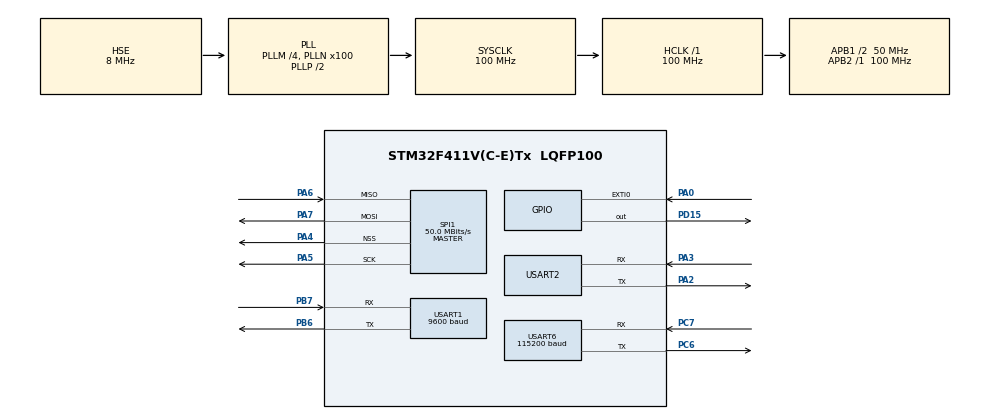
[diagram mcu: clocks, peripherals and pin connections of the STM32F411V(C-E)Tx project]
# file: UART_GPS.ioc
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Mcu.Family=STM32F4
Mcu.Name=STM32F411V(C-E)Tx
Mcu.Package=LQFP100
NVIC.EXTI0_IRQn=true\:0\:0\:false\:false\:true\:true
NVIC.PriorityGroup=NVIC_PRIORITYGROUP_4
NVIC.SPI1_IRQn=true\:0\:0\:false\:false\:true\:true
NVIC.TIM1_UP_TIM10_IRQn=true\:0\:0\:false\:false\:true\:true
NVIC.USART1_IRQn=true\:0\:0\:true\:false\:true\:true
NVIC.USART2_IRQn=true\:0\:0\:false\:false\:true\:true
NVIC.USART6_IRQn=true\:0\:0\:true\:false\:true\:true
PA0-WKUP.Signal=GPXTI0
PA2.Mode=Asynchronous
PA2.Signal=USART2_TX
PA3.Mode=Asynchronous
PA3.Signal=USART2_RX
PA4.Mode=NSS_Signal_Hard_Output
PA4.Signal=SPI1_NSS
PA5.Mode=Full_Duplex_Master
PA5.Signal=SPI1_SCK
PA6.Mode=Full_Duplex_Master
PA6.Signal=SPI1_MISO
PA7.Mode=Full_Duplex_Master
PA7.Signal=SPI1_MOSI
PB6.Mode=Asynchronous
PB6.Signal=USART1_TX
PB7.Mode=Asynchronous
PB7.Signal=USART1_RX
PC6.Mode=Asynchronous
PC6.Signal=USART6_TX
PC7.Mode=Asynchronous
PC7.Signal=USART6_RX
PD15.Signal=GPIO_Output
PH0\ -\ OSC_IN.Mode=HSE-External-Oscillator
PH0\ -\ OSC_IN.Signal=RCC_OSC_IN
PH1\ -\ OSC_OUT.Mode=HSE-External-Oscillator
PH1\ -\ OSC_OUT.Signal=RCC_OSC_OUT
ProjectManager.HeapSize=0x200
ProjectManager.StackSize=0x400
ProjectManager.TargetToolchain=SW4STM32
RCC.48MHZClocksFreq_Value=50000000
RCC.AHBFreq_Value=100000000
RCC.APB1CLKDivider=RCC_HCLK_DIV2
RCC.APB1Freq_Value=50000000
RCC.APB1TimFreq_Value=100000000
RCC.APB2Freq_Value=100000000
RCC.APB2TimFreq_Value=100000000
RCC.CortexFreq_Value=100000000
RCC.HCLKFreq_Value=100000000
RCC.HSE_VALUE=8000000
RCC.HSI_VALUE=16000000
RCC.LSE_VALUE=32768
RCC.PLLM=4
RCC.PLLN=100
RCC.PLLSourceVirtual=RCC_PLLSOURCE_HSE
RCC.SYSCLKFreq_VALUE=100000000
RCC.SYSCLKSource=RCC_SYSCLKSOURCE_PLLCLK
RCC.VCOOutputFreq_Value=200000000
SPI1.CalculateBaudRate=50.0 MBits/s
SPI1.Direction=SPI_DIRECTION_2LINES
SPI1.Mode=SPI_MODE_MASTER
SPI1.VirtualNSS=VM_NSSHARD
SPI1.VirtualType=VM_MASTER
TIM10.Period=19999
TIM10.Prescaler=49999
USART1.BaudRate=9600
USART1.VirtualMode=VM_ASYNC
USART2.VirtualMode=VM_ASYNC
USART6.BaudRate=115200
USART6.VirtualMode=VM_ASYNC
VP_FATFS_VS_Generic.Mode=User_defined
VP_TIM10_VS_ClockSourceINT.Mode=Enable_Timer
board=custom

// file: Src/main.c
/* USER CODE BEGIN Header */
/**
  ******************************************************************************
  * @file           : main.c
  * @brief          : Main program body
  ******************************************************************************
  * This notice applies to any and all portions of this file
  * that are not between comment pairs USER CODE BEGIN and
  * USER CODE END. Other portions of this file, whether
  * inserted by the user or by software development tools
  * are owned by their respective copyright owners.
  *
  * Copyright (c) 2019 STMicroelectronics International N.V.
  * All rights reserved.
  *
  * Redistribution and use in source and binary forms, with or without
  * modification, are permitted, provided that the following conditions are met:
  *
  * 1. Redistribution of source code must retain the above copyright notice,
  *    this list of conditions and the following disclaimer.
  * 2. Redistributions in binary form must reproduce the above copyright notice,
  *    this list of conditions and the following disclaimer in the documentation
  *    and/or other materials provided with the distribution.
  * 3. Neither the name of STMicroelectronics nor the names of other
  *    contributors to this software may be used to endorse or promote products
  *    derived from this software without specific written permission.
  * 4. This software, including modifications and/or derivative works of this
  *    software, must execute solely and exclusively on microcontroller or
  *    microprocessor devices manufactured by or for STMicroelectronics.
  * 5. Redistribution and use of this software other than as permitted under
  *    this license is void and will automatically terminate your rights under
  *    this license.
  *
  * THIS SOFTWARE IS PROVIDED BY STMICROELECTRONICS AND CONTRIBUTORS "AS IS"
  * AND ANY EXPRESS, IMPLIED OR STATUTORY WARRANTIES, INCLUDING, BUT NOT
  * LIMITED TO, THE IMPLIED WARRANTIES OF MERCHANTABILITY, FITNESS FOR A
  * PARTICULAR PURPOSE AND NON-INFRINGEMENT OF THIRD PARTY INTELLECTUAL PROPERTY
  * RIGHTS ARE DISCLAIMED TO THE FULLEST EXTENT PERMITTED BY LAW. IN NO EVENT
  * SHALL STMICROELECTRONICS OR CONTRIBUTORS BE LIABLE FOR ANY DIRECT, INDIRECT,
  * INCIDENTAL, SPECIAL, EXEMPLARY, OR CONSEQUENTIAL DAMAGES (INCLUDING, BUT NOT
  * LIMITED TO, PROCUREMENT OF SUBSTITUTE GOODS OR SERVICES; LOSS OF USE, DATA,
  * OR PROFITS; OR BUSINESS INTERRUPTION) HOWEVER CAUSED AND ON ANY THEORY OF
  * LIABILITY, WHETHER IN CONTRACT, STRICT LIABILITY, OR TORT (INCLUDING
  * NEGLIGENCE OR OTHERWISE) ARISING IN ANY WAY OUT OF THE USE OF THIS SOFTWARE,
  * EVEN IF ADVISED OF THE POSSIBILITY OF SUCH DAMAGE.
  *
  ******************************************************************************
  */
/* USER CODE END Header */

#include "main.h"
#include "fatfs.h"

/* USER CODE BEGIN Includes */
#include <stdlib.h>
#include "zone.h"
#include <string.h>
#include "stm32f4xx_hal_flash.h"
#include "../SW4STM32/UART_GPS/EEPROM/eeprom.h"
#include "GSM.h"
/* USER CODE END Includes */

SPI_HandleTypeDef hspi1;
TIM_HandleTypeDef htim10;

UART_HandleTypeDef huart1;
UART_HandleTypeDef huart2;
UART_HandleTypeDef huart6;

/* USER CODE BEGIN PV */
/* Private variables ---------------------------------------------------------*/
uint8_t GPS_Rec[68];
uint8_t *GPS_Rec_2;
uint8_t GPS_Check;

FATFS FatFs;
FIL fil;
FRESULT fresult;

/*
// Zmienne biblioteki "EEPROM"
uint16_t VirtAddVarTab[NB_OF_VAR] = {0x5555, 0x6666, 0x7777};
uint16_t VarDataTab[NB_OF_VAR] = {0, 0, 0};
uint16_t VarValue,VarDataTmp = 77;
*/

/* parametry strefy */
int Szer_Gorna_Granica =  510000000; // 5100.00000,N
int Szer_Dolna_Granica = -490000000; // 4900.00000,S
int Dl_prawo_Granica = 215911430; // 02159.11430,E
int Dl_lewo_Granica = -205911430; // 02059.11430,W

/* USER CODE END PV */

void SystemClock_Config(void);
static void MX_GPIO_Init(void);
static void MX_USART6_UART_Init(void);
static void MX_USART1_UART_Init(void);
static void MX_TIM10_Init(void);
static void MX_SPI1_Init(void);
static void MX_USART2_UART_Init(void);
/* USER CODE BEGIN PFP */
/* Private function prototypes -----------------------------------------------*/

void gsm(void)	// funkcja przetwazajaca polecenia od GSM
{
	if (GSM_Buff[1] == '1')	// #1 - wyslij aktualna pozycje
	{
		if ((char) GPS_Rec_2[17] == 'V' || (char) GPS_Rec_2[18] == 'V' || (char) GPS_Rec_2[9] == 'V')
		{
			GSM_send(NUMER,"Blad,gps nie odbiera sygnalu.\n\r");
		}
		else
		{
			char* source = (char*) malloc(85 * sizeof(uint8_t)); //dlugosc ramki stala, sprawdzone
			send_google((char*) GPS_Rec_2, source); //wlasna funkcja tworzaca link do google maps
			GSM_send(NUMER,source);
		}
	}

	else if (GSM_Buff[1] == '2') //#2 -ramka NMEA
	{
		GSM_send(NUMER,(char*)GPS_Rec_2);
	}

	else if (GSM_Buff[1] == '3') //#3 - RESET rejestratora
	{
		NVIC_SystemReset();
	}
	else if (GSM_Buff[1] == '4') //#4 - TEST
	{
		GSM_send(NUMER,"\n\r<GPS_Check>\n\r");
	}
	/*			/////Do rozwiniecia w przyszlosci
	else if (GSM_Buff[1] == '5') //#5 ustaw gorna szerokosc geograficzna za ktora rejestrator nie moze wyjsc
	{
		Szer_Gorna_Granica = 510000000;
		ustaw_punkt_GS(&Szer_Gorna_Granica);
	}

	else if (GSM_Buff[1] == '6') //#6 -ustaw dolna szerokosc geograficzna za ktora rejestrator nie moze wyjsc
	{
		VarValue = 16;
	    if((EE_WriteVariable(VirtAddVarTab[0],  VarValue)) != HAL_OK)
	    {
	    	//ustaw_punkt_A(&Szer_Gorna_Granica);
	    }
	}

	else if (GSM_Buff[1] == '7') //#7 -ustaw lewa granice dlugosci geograficznej za ktora rejestrator nie moze wyjsc
	{
	    if(EE_ReadVariable(VirtAddVarTab[0], &VarDataTmp) != HAL_OK)
	    {
	    	char* information = "blad odczytu\r\n";
	    	int length = sprintf(information,"blad odczytu\r\n");
	    	HAL_UART_Transmit(&huart6, (uint8_t*) information,(uint16_t) length,10);
	    }
	}
	else if (GSM_Buff[1] == '8') //#8 -ustaw prawa granice dlugosci geograficznej za ktora rejestrator nie moze wyjsc
	{
		//ustaw_punkt_A(&Szer_Gorna_Granica);
	}
	*/
}

void HAL_UART_RxCpltCallback(UART_HandleTypeDef *huart)
{
	if (GSM_Buff[0] != '#') // pobieranie ramki GPS wylaczone gdy nadawany jest GSM
	{
		if (GPS_Check == 10)	// wykrycie poczatku ramki NMEA, 10 == '$'
		{
			HAL_UART_Receive_IT(&huart1, GPS_Rec, 68);//odbierz cala ramke NMEA
			GPS_Rec_2 = GPS_Rec;	//przypisanie ramki do drugiego stringa

			f_lseek(&fil,f_size(&fil)); //przejscie na koniec pliku
			f_puts(GPS_Rec_2,&fil);	//zapis ramki na karte
			f_sync(&fil);		//"Flush cached data"

			GPS_Check = '0';	//wyczyszczenie znaku
			HAL_UART_Receive_IT(&huart1, &GPS_Check, 1);	//sprawdzaj ponowine
		}
		else
		{
			HAL_UART_Receive_IT(&huart1, &GPS_Check, 1);// szukaj znaku poczatku ramki
		}
	}

	if(huart->Instance == USART2)	//przerwanie od modulu GSM
	{
			if(GSM_Rx == '+')	//poczatek komunikatu od modulu GSM
			{
				if(GSM_rec_check() == 1)
				{
					save_mess(GSM_Buff);
					if (GSM_Buff[0] == '#')	//znak oznaczajacy detekcje polecenia od GSM
					{
						//HAL_GPIO_TogglePin(GPIOD, GPIO_PIN_15);
						gsm();
						GSM_Buff[0] = '0';	//wyczyszczenie komendy od GSM
						HAL_UART_Receive_IT(&huart2, &GSM_Rx, 1); 	// sprawdznie kolejnego znaku
					}
					else
					{
						HAL_UART_Receive_IT(&huart2, &GSM_Rx, 1); //czekaj na komunikat od GSM
					}
				}
				else
				{
					HAL_UART_Receive_IT(&huart2, &GSM_Rx, 1);
				}
			}
			else
			{
				HAL_UART_Receive_IT(&huart2, &GSM_Rx, 1);
			}
		}
}

void HAL_TIM_PeriodElapsedCallback(TIM_HandleTypeDef *htim)
{
	if(htim->Instance == TIM10)	//wykrycie timera zliczajecego co 10 sec
	{
		if(StrefaSzerokosc((char*)GPS_Rec_2,Szer_Gorna_Granica,Szer_Dolna_Granica) == 0
		||DlugoscSzerokosc((char*)GPS_Rec_2,Dl_prawo_Granica,Dl_lewo_Granica)== 0)	// sprawdzenie naruszenia strefy
		{
			GSM_send(NUMER,"\n\rLOKALIZATOR OPUSCIL WYZNACZONA STREFE!\n\r");
		}
	}
}

/* USER CODE END PFP */

int main(void)
{
  /* USER CODE BEGIN 1 */
	GPS_Rec_2 = (uint8_t*) malloc(68 * sizeof(uint8_t)); /* przyporzadkowanie pamieci dla stringa
	 przechowujacego ramke NMEA
	 */
  /* USER CODE END 1 */

  /* MCU Configuration--------------------------------------------------------*/

  /* Reset of all peripherals, Initializes the Flash interface and the Systick. */
  HAL_Init();

  /* Configure the system clock */
  SystemClock_Config();

  /* Initialize all configured peripherals */
  MX_GPIO_Init();
  MX_USART6_UART_Init();
  MX_USART1_UART_Init();
  MX_TIM10_Init();
  MX_SPI1_Init();
  MX_USART2_UART_Init();
  MX_FATFS_Init();
  /* USER CODE BEGIN 2 */

  HAL_UART_Receive_IT(&huart1, &GPS_Check, 1); //rozpoczecie odbierania danych  z GPS
  HAL_UART_Receive_IT(&huart2, &GSM_Rx, 1);   //rozpoczecie odbierania danych  z GSM
  HAL_TIM_Base_Start_IT(&htim10);			 //rozpoczecie pracy timera

  /*zapisanie poczatowych punktow strefy w pamieci flash */
  /*
  HAL_FLASH_Unlock();
  if( EE_Init() != EE_OK)	//inicializacja
  {
	   	  char* information = "blad inicializacji\r\n";
	   	  int length = sprintf(information,"blad inicializacji\r\n");
	   	  HAL_UART_Transmit(&huart6, (uint8_t*) information,(uint16_t) length,10);
  }
  {
    	EE_WriteVariable(VirtAddVarTab[0],  '+');	//+ lub -
    	EE_WriteVariable(VirtAddVarTab[1],  5);
    	EE_WriteVariable(VirtAddVarTab[2],  1);
    	EE_WriteVariable(VirtAddVarTab[3],  0);
    	EE_WriteVariable(VirtAddVarTab[4],  0);
    	EE_WriteVariable(VirtAddVarTab[5],  0);
    	EE_WriteVariable(VirtAddVarTab[6],  0);
    	EE_WriteVariable(VirtAddVarTab[7],  0);
    	EE_WriteVariable(VirtAddVarTab[8],  0);
    	EE_WriteVariable(VirtAddVarTab[9],  0);
    	EE_WriteVariable(VirtAddVarTab[10], 'X'); //znak separacji pomiedzy kolejnymi punktami
  }
*/
    GSM_rec_set();	//inicializacja modulu GSM
   //Inicializacja karty
	fresult = f_mount(&FatFs, "", 1);
	fresult = f_open(&fil, "file.txt", FA_CREATE_ALWAYS | FA_WRITE);

  /* USER CODE END 2 */

  /* Infinite loop */
    while (1)
	{

	}
}

void SystemClock_Config(void)
{
  RCC_OscInitTypeDef RCC_OscInitStruct = {0};
  RCC_ClkInitTypeDef RCC_ClkInitStruct = {0};

  /**Configure the main internal regulator output voltage
  */
  __HAL_RCC_PWR_CLK_ENABLE();
  __HAL_PWR_VOLTAGESCALING_CONFIG(PWR_REGULATOR_VOLTAGE_SCALE1);
  /**Initializes the CPU, AHB and APB busses clocks
  */
  RCC_OscInitStruct.OscillatorType = RCC_OSCILLATORTYPE_HSE;
  RCC_OscInitStruct.HSEState = RCC_HSE_ON;
  RCC_OscInitStruct.PLL.PLLState = RCC_PLL_ON;
  RCC_OscInitStruct.PLL.PLLSource = RCC_PLLSOURCE_HSE;
  RCC_OscInitStruct.PLL.PLLM = 4;
  RCC_OscInitStruct.PLL.PLLN = 100;
  RCC_OscInitStruct.PLL.PLLP = RCC_PLLP_DIV2;
  RCC_OscInitStruct.PLL.PLLQ = 4;
  if (HAL_RCC_OscConfig(&RCC_OscInitStruct) != HAL_OK)
  {
    Error_Handler();
  }
  /**Initializes the CPU, AHB and APB busses clocks
  */
  RCC_ClkInitStruct.ClockType = RCC_CLOCKTYPE_HCLK|RCC_CLOCKTYPE_SYSCLK
                              |RCC_CLOCKTYPE_PCLK1|RCC_CLOCKTYPE_PCLK2;
  RCC_ClkInitStruct.SYSCLKSource = RCC_SYSCLKSOURCE_PLLCLK;
  RCC_ClkInitStruct.AHBCLKDivider = RCC_SYSCLK_DIV1;
  RCC_ClkInitStruct.APB1CLKDivider = RCC_HCLK_DIV2;
  RCC_ClkInitStruct.APB2CLKDivider = RCC_HCLK_DIV1;

  if (HAL_RCC_ClockConfig(&RCC_ClkInitStruct, FLASH_LATENCY_3) != HAL_OK)
  {
    Error_Handler();
  }
}

static void MX_SPI1_Init(void)
{

  /* SPI1 parameter configuration*/
  hspi1.Instance = SPI1;
  hspi1.Init.Mode = SPI_MODE_MASTER;
  hspi1.Init.Direction = SPI_DIRECTION_2LINES;
  hspi1.Init.DataSize = SPI_DATASIZE_8BIT;
  hspi1.Init.CLKPolarity = SPI_POLARITY_LOW;
  hspi1.Init.CLKPhase = SPI_PHASE_1EDGE;
  hspi1.Init.NSS = SPI_NSS_HARD_OUTPUT;
  hspi1.Init.BaudRatePrescaler = SPI_BAUDRATEPRESCALER_2;
  hspi1.Init.FirstBit = SPI_FIRSTBIT_MSB;
  hspi1.Init.TIMode = SPI_TIMODE_DISABLE;
  hspi1.Init.CRCCalculation = SPI_CRCCALCULATION_DISABLE;
  hspi1.Init.CRCPolynomial = 10;
  if (HAL_SPI_Init(&hspi1) != HAL_OK)
  {
    Error_Handler();
  }

}

static void MX_TIM10_Init(void)
{

  htim10.Instance = TIM10;
  htim10.Init.Prescaler = 49999;
  htim10.Init.CounterMode = TIM_COUNTERMODE_UP;
  htim10.Init.Period = 19999;
  htim10.Init.ClockDivision = TIM_CLOCKDIVISION_DIV1;
  if (HAL_TIM_Base_Init(&htim10) != HAL_OK)
  {
    Error_Handler();
  }

}

static void MX_USART1_UART_Init(void)
{

  huart1.Instance = USART1;
  huart1.Init.BaudRate = 9600;
  huart1.Init.WordLength = UART_WORDLENGTH_8B;
  huart1.Init.StopBits = UART_STOPBITS_1;
  huart1.Init.Parity = UART_PARITY_NONE;
  huart1.Init.Mode = UART_MODE_TX_RX;
  huart1.Init.HwFlowCtl = UART_HWCONTROL_NONE;
  huart1.Init.OverSampling = UART_OVERSAMPLING_16;
  if (HAL_UART_Init(&huart1) != HAL_OK)
  {
    Error_Handler();
  }

}

static void MX_USART2_UART_Init(void)
{

  huart2.Instance = USART2;
  huart2.Init.BaudRate = 115200;
  huart2.Init.WordLength = UART_WORDLENGTH_8B;
  huart2.Init.StopBits = UART_STOPBITS_1;
  huart2.Init.Parity = UART_PARITY_NONE;
  huart2.Init.Mode = UART_MODE_TX_RX;
  huart2.Init.HwFlowCtl = UART_HWCONTROL_NONE;
  huart2.Init.OverSampling = UART_OVERSAMPLING_16;
  if (HAL_UART_Init(&huart2) != HAL_OK)
  {
    Error_Handler();
  }

}

static void MX_USART6_UART_Init(void)
{

  huart6.Instance = USART6;
  huart6.Init.BaudRate = 115200;
  huart6.Init.WordLength = UART_WORDLENGTH_8B;
  huart6.Init.StopBits = UART_STOPBITS_1;
  huart6.Init.Parity = UART_PARITY_NONE;
  huart6.Init.Mode = UART_MODE_TX_RX;
  huart6.Init.HwFlowCtl = UART_HWCONTROL_NONE;
  huart6.Init.OverSampling = UART_OVERSAMPLING_16;
  if (HAL_UART_Init(&huart6) != HAL_OK)
  {
    Error_Handler();
  }

}

static void MX_GPIO_Init(void)
{
  GPIO_InitTypeDef GPIO_InitStruct = {0};

  /* GPIO Ports Clock Enable */
  __HAL_RCC_GPIOH_CLK_ENABLE();
  __HAL_RCC_GPIOA_CLK_ENABLE();
  __HAL_RCC_GPIOD_CLK_ENABLE();
  __HAL_RCC_GPIOC_CLK_ENABLE();
  __HAL_RCC_GPIOB_CLK_ENABLE();

  /*Configure GPIO pin Output Level */
  HAL_GPIO_WritePin(GPIOD, GPIO_PIN_15, GPIO_PIN_RESET);

  /*Configure GPIO pin : PA0 */
  GPIO_InitStruct.Pin = GPIO_PIN_0;
  GPIO_InitStruct.Mode = GPIO_MODE_IT_RISING;
  GPIO_InitStruct.Pull = GPIO_NOPULL;
  HAL_GPIO_Init(GPIOA, &GPIO_InitStruct);

  /*Configure GPIO pin : PD15 */
  GPIO_InitStruct.Pin = GPIO_PIN_15;
  GPIO_InitStruct.Mode = GPIO_MODE_OUTPUT_PP;
  GPIO_InitStruct.Pull = GPIO_NOPULL;
  GPIO_InitStruct.Speed = GPIO_SPEED_FREQ_LOW;
  HAL_GPIO_Init(GPIOD, &GPIO_InitStruct);

  /* EXTI interrupt init*/
  HAL_NVIC_SetPriority(EXTI0_IRQn, 0, 0);
  HAL_NVIC_EnableIRQ(EXTI0_IRQn);

}

void Error_Handler(void)
{
	while (1) {
	}
}

/************************ (C) COPYRIGHT STMicroelectronics *****END OF FILE****/
